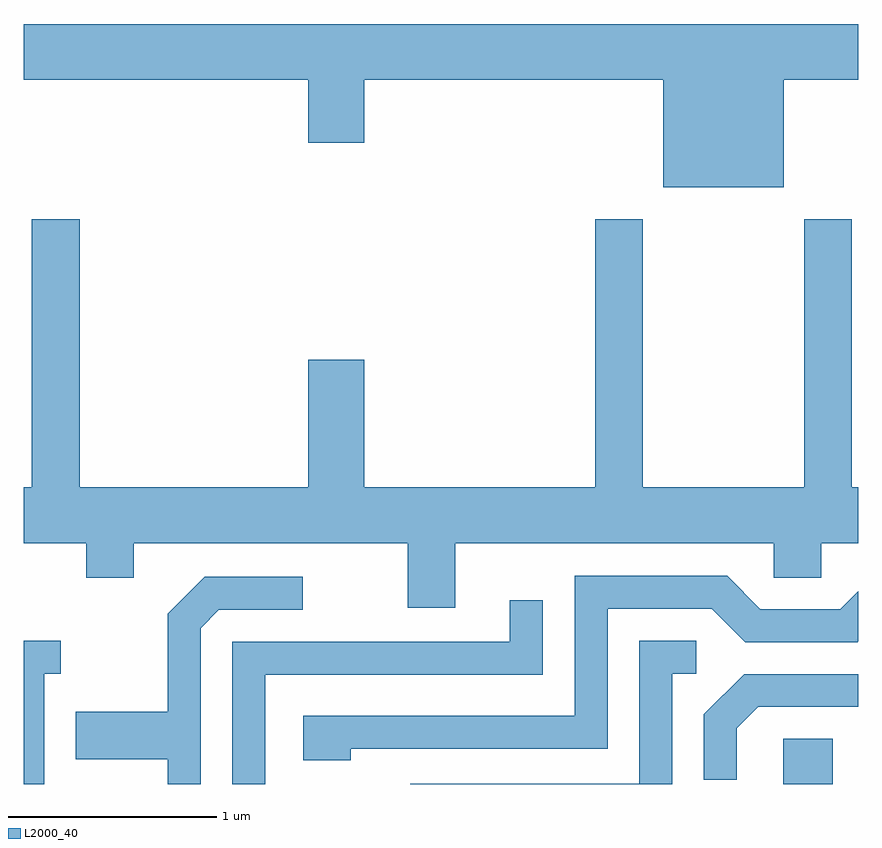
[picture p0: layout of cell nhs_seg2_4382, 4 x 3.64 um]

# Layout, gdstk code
import gdstk
lib = gdstk.Library(unit=1e-6, precision=1e-09)
def R(c, l, rs):  # rectangles x0, y0, x1, y1
    for r in rs: c.add(gdstk.rectangle(r[:2], r[2:], *l))
def P(c, l, *ps):  # polygons
    for p in ps: c.add(gdstk.Polygon(p, *l))
L2000_40 = (2000, 40)

nhs_seg2_4382 = lib.new_cell('nhs_seg2_4382')
R(nhs_seg2_4382, L2000_40, [(317.251,1073.802,317.489,1074.019)])
P(nhs_seg2_4382, L2000_40, [(317.254,1077.176),(317.611,1077.176),(317.611,1077.444),(313.611,1077.444),(313.611,1077.176),(314.976,1077.176),(314.976,1076.876),(315.244,1076.876),(315.244,1077.176),(316.676,1077.176),(316.676,1076.661),(317.254,1076.661)],
  [(315.679,1074.956),(317.206,1074.956),(317.206,1074.791),(317.434,1074.791),(317.434,1074.956),(317.611,1074.956),(317.611,1075.224),(317.579,1075.224),(317.579,1076.509),(317.351,1076.509),(317.351,1075.224),(316.579,1075.224),(316.579,1076.509),(316.351,1076.509),(316.351,1075.224),(315.244,1075.224),(315.244,1075.834),(314.976,1075.834),(314.976,1075.224),(313.879,1075.224),(313.879,1076.509),(313.651,1076.509),(313.651,1075.224),(313.611,1075.224),(313.611,1074.956),(313.911,1074.956),(313.911,1074.791),(314.139,1074.791),(314.139,1074.956),(315.451,1074.956),(315.451,1074.646),(315.679,1074.646)],
  [(315.179,1073.971),(316.409,1073.971),(316.409,1074.641),(316.909,1074.641),(317.069,1074.481),(317.607,1074.481),(317.611,1074.485),(317.611,1074.726),(317.524,1074.639),(317.142,1074.639),(316.982,1074.799),(316.251,1074.799),(316.251,1074.129),(314.951,1074.129),(314.951,1073.916),(315.179,1073.916)],
  [(314.459,1074.549),(314.547,1074.636),(314.948,1074.636),(314.948,1074.794),(314.479,1074.794),(314.301,1074.617),(314.301,1074.149),(313.861,1074.149),(313.861,1073.921),(314.301,1073.921),(314.301,1073.802),(314.459,1073.802)],
  [(314.769,1074.326),(316.099,1074.326),(316.099,1074.683),(315.941,1074.683),(315.941,1074.484),(314.611,1074.484),(314.611,1073.802),(314.769,1073.802)],
  [(313.709,1074.331),(313.788,1074.331),(313.788,1074.489),(313.611,1074.489),(313.611,1073.802),(313.709,1073.802)],
  [(316.719,1074.331),(316.833,1074.331),(316.833,1074.489),(316.561,1074.489),(316.561,1073.804),(315.463,1073.804),(315.463,1073.802),(316.719,1073.802)],
  [(317.029,1074.069),(317.132,1074.171),(317.611,1074.171),(317.611,1074.329),(317.064,1074.329),(316.871,1074.137),(316.871,1073.823),(317.029,1073.823)])

lib.write_gds('nhs_seg2_4382.gds')
